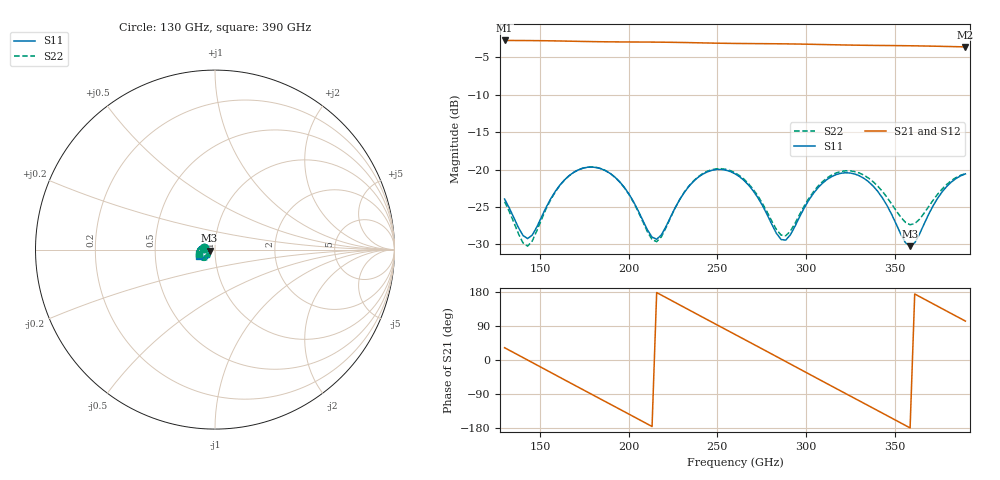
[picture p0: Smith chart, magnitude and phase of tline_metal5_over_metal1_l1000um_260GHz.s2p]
#  GHZ S DB R 50
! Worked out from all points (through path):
!   101 points, 130 GHz to 390 GHz, reference 50 ohm
!   highest |S21| = -2.76 dB at 130 GHz (marker M1); lowest = -3.6 dB at 390 GHz (marker M2)
!   group delay of S21, straight-line fit = 6.94 ps
!   lowest |S11| = -30.2 dB at 358.8 GHz (marker M3), VSWR 1.06, Z = 47.1 - j0.575 ohm
!   |S11| at or under -10 dB: start of sweep to end of sweep
!   |S22| runs from -30.2 to -19.7 dB; largest |S21 - S12| = 8.3e-14
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130  -23.94 172.8  -2.76 32.4  -2.76 32.4  -24.30 171.4
143  -29.23 -158.4  -2.78 -0.1  -2.78 -0.1  -30.23 -155.3
156  -23.92 -130.7  -2.81 -32.8  -2.81 -32.8  -24.03 -126.5
174.2  -19.82 -155.1  -2.90 -78.3  -2.90 -78.3  -19.81 -152.6
192.4  -21.05 174.3  -2.96 -123.5  -2.96 -123.5  -21.06 175.9
205.4  -25.51 164.7  -2.97 -156.0  -2.97 -156.0  -25.63 165.8
213.2  -29.04 -176.8  -2.98 -175.5  -2.98 -175.5  -29.36 -174.8
218.4  -28.75 -152.7  -2.99 171.4  -2.99 171.4  -29.01 -149.2
228.8  -24.01 -138.1  -3.03 145.3  -3.03 145.3  -24.01 -134.6
241.8  -20.62 -153.0  -3.09 112.8  -3.09 112.8  -20.55 -149.9
260  -20.57 176.9  -3.16 67.5  -3.16 67.5  -20.44 -179.8
273  -23.80 161.4  -3.19 35.1  -3.19 35.1  -23.56 165.1
286  -29.35 -177.4  -3.21 2.6  -3.21 2.6  -28.76 -174.8
291.2  -28.74 -154.2  -3.23 -10.5  -3.23 -10.5  -28.25 -153.2
304.2  -23.20 -143.5  -3.28 -43.1  -3.28 -43.1  -22.99 -141.9
314.6  -20.94 -156.7  -3.33 -69.1  -3.33 -69.1  -20.73 -154.1
325  -20.47 -173.5  -3.38 -95.0  -3.38 -95.0  -20.18 -169.9
335.4  -21.64 170.4  -3.42 -120.8  -3.42 -120.8  -21.15 175.5
348.4  -26.00 160.6  -3.45 -153.2  -3.45 -153.2  -24.61 167.9
358.8  -30.24 -168.6  -3.47 -179.3  -3.47 -179.3  -27.37 -171.9
371.8  -24.83 -137.2  -3.53 148.2  -3.53 148.2  -24.09 -148.5
390  -20.59 -158.1  -3.62 102.7  -3.62 102.7  -20.56 -165.5
